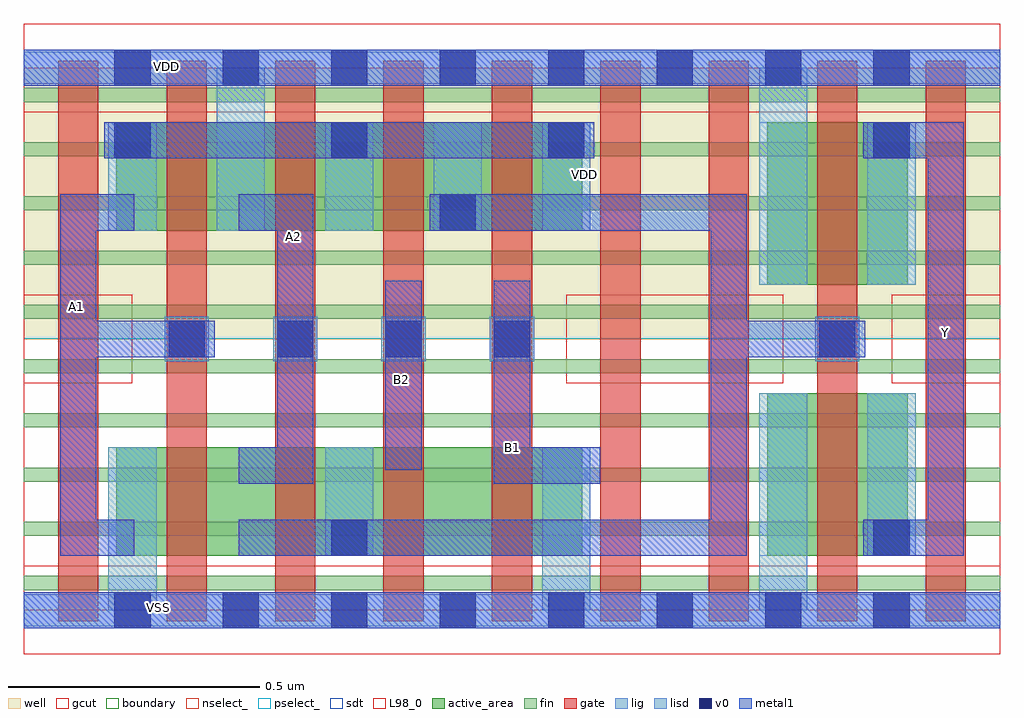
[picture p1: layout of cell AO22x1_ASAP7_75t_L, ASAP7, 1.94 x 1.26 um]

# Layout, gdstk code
import gdstk
lib = gdstk.Library(unit=1e-6, precision=2.5e-10)
def R(c, l, rs):  # rectangles x0, y0, x1, y1
    for r in rs: c.add(gdstk.rectangle(r[:2], r[2:], *l))
def A(c, l, x, y, w, h, nx, ny, dx, dy):  # array of equal rectangles
    R(c, l, [(x+i*dx, y+j*dy, x+i*dx+w, y+j*dy+h) for i in range(nx) for j in range(ny)])
def P(c, l, *ps):  # polygons
    for p in ps: c.add(gdstk.Polygon(p, *l))
well = (1, 0)
fin = (2, 0)
gate = (7, 0)
gcut = (10, 0)
active_area = (11, 0)
nselect_ = (12, 0)
pselect_ = (13, 0)
lig = (16, 0)
lisd = (17, 0)
v0 = (18, 0)
metal1 = (19, 0)
sdt = (88, 0)
L98_0 = (98, 0)
boundary = (100, 0)

ao22x1_asap7_75t_l = lib.new_cell('AO22x1_ASAP7_75t_L')
R(ao22x1_asap7_75t_l, well, [(0,0.54,1.944,1.08)])
A(ao22x1_asap7_75t_l, fin, 0, 0.04, 1.944, 0.028, 1, 10, 0, 0.108)
A(ao22x1_asap7_75t_l, gate, 0.068, -0.022, 0.08, 1.116, 8, 1, 0.216, 0)
R(ao22x1_asap7_75t_l, gate, [(1.58,-0.022,1.66,1.094), (1.796,-0.022,1.876,1.094)])
R(ao22x1_asap7_75t_l, gcut, [(0,-0.088,1.944,0.088), (0,0.452,0.216,0.628), (1.08,0.452,1.512,0.628), (1.728,0.452,1.944,0.628), (0,0.992,1.944,1.168)])
R(ao22x1_asap7_75t_l, active_area, [(0.184,0.108,1.112,0.324), (1.48,0.108,1.76,0.432), (1.48,0.648,1.76,0.972), (0.184,0.756,1.112,0.972)])
R(ao22x1_asap7_75t_l, nselect_, [(0,0,1.944,0.54)])
R(ao22x1_asap7_75t_l, pselect_, [(0,0.54,1.944,1.08)])
A(ao22x1_asap7_75t_l, lig, 0.28, 0.496, 0.088, 0.088, 4, 1, 0.216, 0)
R(ao22x1_asap7_75t_l, lig, [(0,-0.032,1.944,0.032), (1.576,0.496,1.664,0.584), (0,1.048,1.944,1.112)])
A(ao22x1_asap7_75t_l, lisd, 0.6, 0.756, 0.096, 0.216, 3, 1, 0.216, 0)
R(ao22x1_asap7_75t_l, lisd, [(0.168,0,0.264,0.324), (1.032,0,1.128,0.324), (1.464,0,1.56,0.432), (0.6,0.108,0.696,0.324), (1.68,0.108,1.776,0.432), (1.464,0.648,1.56,1.08), (1.68,0.648,1.776,0.972), (0.168,0.756,0.264,0.972), (0.384,0.756,0.48,1.08)])
A(ao22x1_asap7_75t_l, v0, 0.18, -0.036, 0.072, 0.072, 8, 2, 0.216, 1.08)
A(ao22x1_asap7_75t_l, v0, 0.288, 0.504, 0.072, 0.072, 4, 1, 0.216, 0)
A(ao22x1_asap7_75t_l, v0, 0.18, 0.9, 0.072, 0.072, 3, 1, 0.432, 0)
R(ao22x1_asap7_75t_l, v0, [(1.692,-0.036,1.764,0.036), (0.612,0.108,0.684,0.18), (1.692,0.108,1.764,0.18), (1.584,0.504,1.656,0.576), (0.828,0.756,0.9,0.828), (1.692,0.9,1.764,0.972), (1.692,1.044,1.764,1.116)])
R(ao22x1_asap7_75t_l, metal1, [(0,-0.036,1.944,0.036), (0.72,0.28,0.792,0.656), (0.16,0.9,1.136,0.972), (0,1.044,1.944,1.116)])
P(ao22x1_asap7_75t_l, metal1, [(0.576,0.828),(0.428,0.828),(0.428,0.756),(0.504,0.756),(0.504,0.324),(0.428,0.324),(0.428,0.252),(0.576,0.252)],
  [(1.148,0.324),(1.008,0.324),(1.008,0.656),(0.936,0.656),(0.936,0.252),(1.148,0.252)],
  [(1.676,0.576),(1.44,0.576),(1.44,0.828),(0.808,0.828),(0.808,0.756),(1.368,0.756),(1.368,0.18),(0.428,0.18),(0.428,0.108),(1.44,0.108),(1.44,0.504),(1.676,0.504)],
  [(1.872,0.972),(1.672,0.972),(1.672,0.9),(1.8,0.9),(1.8,0.18),(1.672,0.18),(1.672,0.108),(1.872,0.108)],
  [(0.38,0.576),(0.144,0.576),(0.144,0.756),(0.22,0.756),(0.22,0.828),(0.072,0.828),(0.072,0.108),(0.22,0.108),(0.22,0.18),(0.144,0.18),(0.144,0.504),(0.38,0.504)])
A(ao22x1_asap7_75t_l, sdt, 0.168, 0.108, 0.096, 0.216, 3, 1, 0.432, 0)
A(ao22x1_asap7_75t_l, sdt, 0.168, 0.756, 0.096, 0.216, 5, 1, 0.216, 0)
R(ao22x1_asap7_75t_l, sdt, [(1.464,0.108,1.56,0.432), (1.68,0.108,1.776,0.432), (1.68,0.108,1.776,0.432), (1.464,0.648,1.56,0.972), (1.68,0.648,1.776,0.972), (1.68,0.648,1.776,0.972)])
R(ao22x1_asap7_75t_l, L98_0, [(0,0,1.944,1.08)])
R(ao22x1_asap7_75t_l, boundary, [(0,0,1.944,1.08)])
ao22x1_asap7_75t_l.add(gdstk.Label('VDD', (1.116,0.868), layer=1, texttype=251))
ao22x1_asap7_75t_l.add(gdstk.Label('A1', (0.104,0.604), layer=19, texttype=251))
ao22x1_asap7_75t_l.add(gdstk.Label('A2', (0.536,0.744), layer=19, texttype=251))
ao22x1_asap7_75t_l.add(gdstk.Label('VDD', (0.284,1.082), layer=19, texttype=251))
ao22x1_asap7_75t_l.add(gdstk.Label('B2', (0.752,0.46), layer=19, texttype=251))
ao22x1_asap7_75t_l.add(gdstk.Label('Y', (1.836,0.552), layer=19, texttype=251))
ao22x1_asap7_75t_l.add(gdstk.Label('B1', (0.972,0.324), layer=19, texttype=251))
ao22x1_asap7_75t_l.add(gdstk.Label('VSS', (0.268,0.006), layer=19, texttype=251))
ao22x1_asap7_75t_l.add(gdstk.Label('VSS', (0.84,-0.176), layer=3, texttype=251))

lib.write_gds('AO22x1_ASAP7_75t_L.gds')
